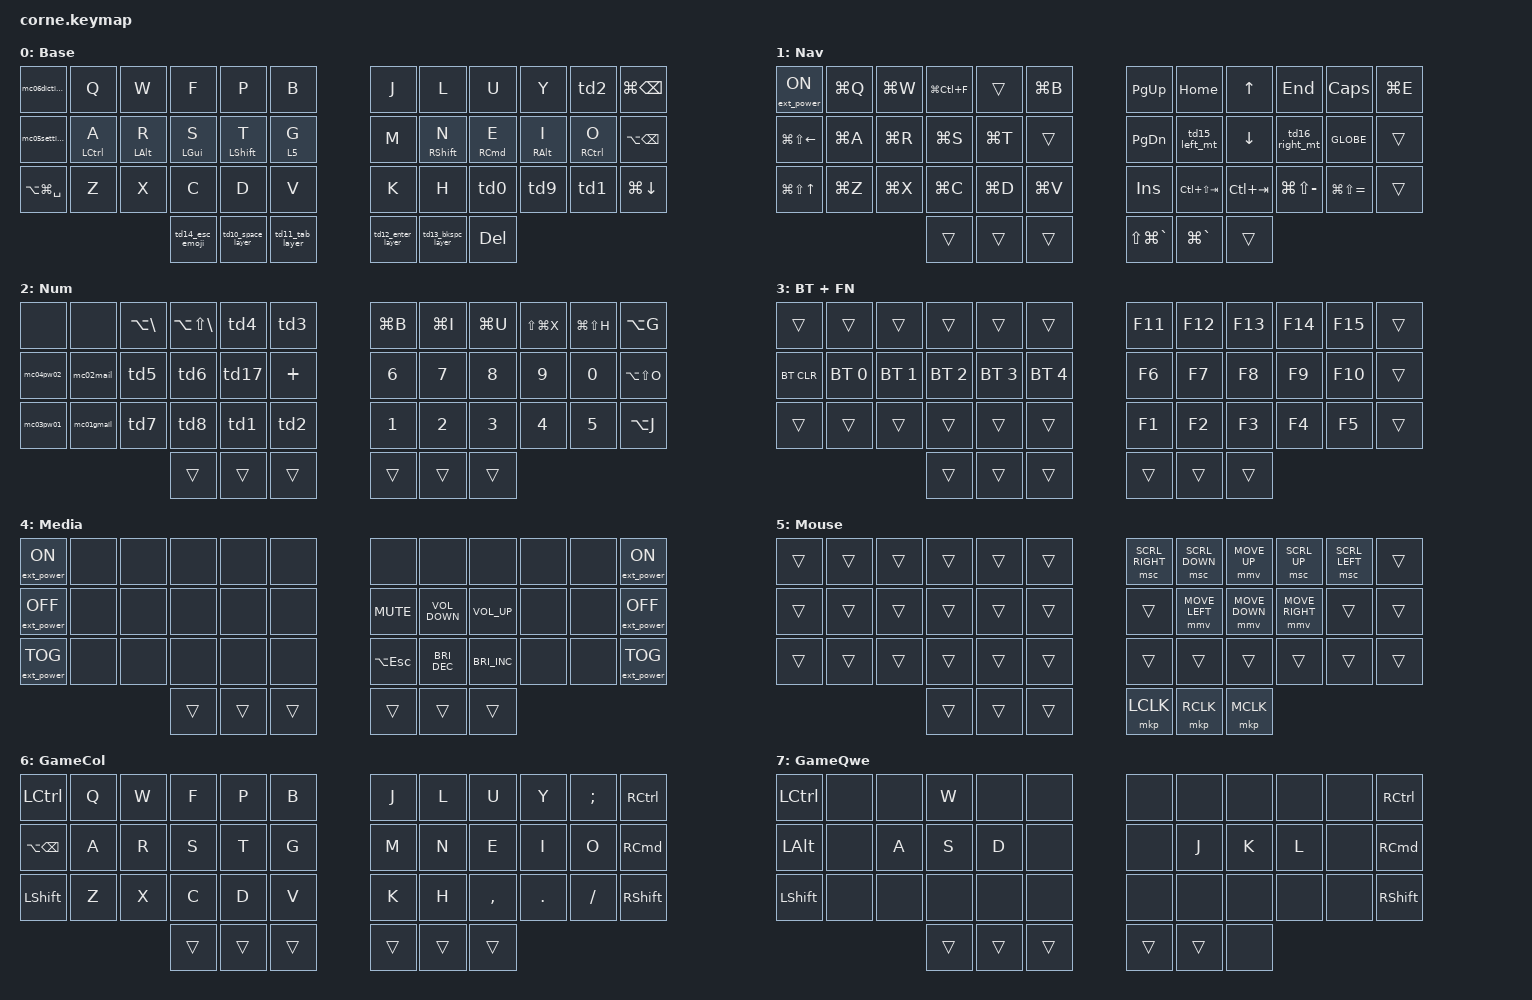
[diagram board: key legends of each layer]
/*
 * Copyright (c) 2020 The ZMK Contributors
 *
 * SPDX-License-Identifier: MIT
 */

#include <behaviors.dtsi>
#include <dt-bindings/zmk/bt.h>
#include <dt-bindings/zmk/ext_power.h>
#include <dt-bindings/zmk/keys.h>
#include <dt-bindings/zmk/pointing.h>

/ {
    combos {
        compatible = "zmk,combos";

        escape {
            bindings = <&kp ESC>;
            key-positions = <27 26>;
        };

        exclamation_mark {
            bindings = <&kp EXCLAMATION>;
            key-positions = <19 34>;
        };

        semicolon {
            bindings = <&kp SEMICOLON>;
            key-positions = <32 33>;
        };

        colon {
            bindings = <&kp COLON>;
            key-positions = <31 32>;
        };

        double_quote {
            bindings = <&kp DQT>;
            key-positions = <31 33>;
        };

        At {
            bindings = <&kp AT>;
            key-positions = <34 33>;
        };

        caret {
            bindings = <&kp CARET>;
            key-positions = <31 32 33>;
        };

        ampersand {
            bindings = <&kp LS(AMPERSAND)>;
            key-positions = <10 19>;
        };

        percent {
            bindings = <&kp PERCENT>;
            key-positions = <10 4>;
        };

        dollar {
            bindings = <&kp DOLLAR>;
            key-positions = <10 28>;
        };

        underscore {
            bindings = <&kp UNDERSCORE>;
            key-positions = <31 32 33 34>;
        };

        plusminus {
            bindings = <&kp LS(LA(EQUAL))>;
            key-positions = <17 16>;
            layers = <2>;
        };

        pipe {
            bindings = <&kp PIPE>;
            key-positions = <10 7>;
        };

        screenshot_select {
            bindings = <&kp LS(LG(N4))>;
            key-positions = <25 24>;
        };

        tog_navlayer {
            bindings = <&tog 1>;
            key-positions = <35 34>;
        };

        tog_numlayer {
            bindings = <&tog 2>;
            key-positions = <23 22>;
        };

        tog_mouselayer {
            bindings = <&tog 5>;
            key-positions = <11 10>;
        };

        screenshot {
            bindings = <&kp LS(LG(N3))>;
            key-positions = <13 12>;
        };

        GameCol {
            bindings = <&tog 6>;
            key-positions = <41 40>;
        };

        GameQwe {
            bindings = <&tog 7>;
            key-positions = <37 36>;
        };

        sleep {
            bindings = <&kp K_SLEEP>;
            key-positions = <36 37 38 39 40 41>;
        };
    };

    behaviors {
        hmr: hmr {
            compatible = "zmk,behavior-hold-tap";
            label = "HMR";
            bindings = <&kp>, <&kp>;

            #binding-cells = <2>;
            tapping-term-ms = <200>;
            quick-tap-ms = <100>;
            flavor = "tap-preferred";
            hold-trigger-key-positions = <13 14 15 16 0 1 2 4 5 12 13 14 15 16 17 24 25 26 27 28 29 36 37 38 39 40 41 3>;
            hold-trigger-on-release;
        };

        hml: hml {
            compatible = "zmk,behavior-hold-tap";
            label = "HML";
            bindings = <&kp>, <&kp>;

            #binding-cells = <2>;
            tapping-term-ms = <200>;
            quick-tap-ms = <100>;
            flavor = "tap-preferred";
            hold-trigger-key-positions = <36 37 38 39 40 41 6 7 8 9 10 11 18 19 20 21 22 23 30 31 32 33 34 35 39 40 41>;
            hold-trigger-on-release;
        };

        td0: td0 {
            compatible = "zmk,behavior-tap-dance";
            label = "TD0";
            #binding-cells = <0>;
            bindings = <&kp COMMA>, <&kp SQT>;
        };

        td1: td1 {
            compatible = "zmk,behavior-tap-dance";
            label = "TD1";
            #binding-cells = <0>;
            bindings = <&kp SLASH>, <&kp BACKSLASH>;
        };

        td2: td2 {
            compatible = "zmk,behavior-tap-dance";
            label = "TD2";
            #binding-cells = <0>;
            bindings = <&kp ASTERISK>, <&kp HASH>;
        };

        td3: td3 {
            compatible = "zmk,behavior-tap-dance";
            label = "TD3";
            #binding-cells = <0>;
            bindings = <&kp EQUAL>, <&kp LA(EQUAL)>;
        };

        td4: td4 {
            compatible = "zmk,behavior-tap-dance";
            label = "TD4";
            #binding-cells = <0>;
            bindings = <&kp LA(X)>, <&kp TILDE>;
        };

        td5: td5 {
            compatible = "zmk,behavior-tap-dance";
            label = "TD5";
            #binding-cells = <0>;
            bindings = <&kp LEFT_PARENTHESIS>, <&kp LESS_THAN>;
        };

        td6: td6 {
            compatible = "zmk,behavior-tap-dance";
            label = "TD6";
            #binding-cells = <0>;
            bindings = <&kp RIGHT_PARENTHESIS>, <&kp GREATER_THAN>;
        };

        td7: td7 {
            compatible = "zmk,behavior-tap-dance";
            label = "TD7";
            #binding-cells = <0>;
            bindings = <&kp LEFT_BRACKET>, <&kp LEFT_BRACE>;
        };

        td8: td8 {
            compatible = "zmk,behavior-tap-dance";
            label = "TD8";
            #binding-cells = <0>;
            bindings = <&kp RIGHT_BRACKET>, <&kp RIGHT_BRACE>;
        };

        td9: td9 {
            compatible = "zmk,behavior-tap-dance";
            label = "TD9";
            #binding-cells = <0>;
            bindings = <&kp DOT>, <&kp LA(N8)>, <&kp LA(SEMICOLON)>;
        };

        td10_space_layer: td10_space_layer {
            compatible = "zmk,behavior-tap-dance";
            label = "TD10_SPACE_LAYER";
            #binding-cells = <0>;
            bindings = <&lt 1 SPACE>, <&key_repeat>;
        };

        td11_tab_layer: td11_tab_layer {
            compatible = "zmk,behavior-tap-dance";
            label = "TD11_TAB_LAYER";
            #binding-cells = <0>;
            bindings = <&lt 2 TAB>, <&key_repeat>;
        };

        td12_enter_layer: td12_enter_layer {
            compatible = "zmk,behavior-tap-dance";
            label = "TD12_ENTER_LAYER";
            #binding-cells = <0>;
            bindings = <&lt 3 ENTER>, <&key_repeat>;
        };

        td13_bkspc_layer: td13_bkspc_layer {
            compatible = "zmk,behavior-tap-dance";
            label = "TD13_BKSPC_LAYER";
            #binding-cells = <0>;
            bindings = <&lt 4 BACKSPACE>, <&key_repeat>;
        };

        td14_esc_emoji: td14_esc_emoji {
            compatible = "zmk,behavior-tap-dance";
            label = "TD14_ESC_EMOJI";
            #binding-cells = <0>;
            bindings = <&mt LC(LG(SPACE)) ESC>, <&key_repeat>;
        };

        td15_left_mt: td15_left_mt {
            compatible = "zmk,behavior-tap-dance";
            label = "TD15_LEFT_MT";
            #binding-cells = <0>;
            bindings = <&mt LG(LA(LEFT)) LEFT>, <&key_repeat>;
        };

        td16_right_mt: td16_right_mt {
            compatible = "zmk,behavior-tap-dance";
            label = "TD16_RIGHT_MT";
            #binding-cells = <0>;
            bindings = <&mt LG(LA(RIGHT)) RIGHT>, <&key_repeat>;
        };

        td17: td17 {
            compatible = "zmk,behavior-tap-dance";
            label = "TD17";
            #binding-cells = <0>;
            bindings = <&kp MINUS>, <&kp LA(LS(MINUS))>;
        };
    };

    macros {
        mc01gmail: gmail1 {
            compatible = "zmk,behavior-macro";
            #binding-cells = <0>;
            bindings = <&kp L &kp O &kp W &kp H &kp A &kp N &kp Y &kp E &kp W &kp AT &kp G &kp M &kp A &kp I &kp L &kp DOT &kp C &kp O &kp M>;
            label = "GMAIL1";
        };

        mc02mail: moemail {
            compatible = "zmk,behavior-macro";
            #binding-cells = <0>;
            bindings = <&kp L &kp O &kp W &kp UNDER &kp H &kp A &kp N &kp UNDER &kp Y &kp E &kp W &kp AT &kp S &kp C &kp H &kp O &kp O &kp L &kp S &kp DOT &kp G &kp O &kp V &kp DOT &kp S &kp G>;
            label = "MOEMAIL";
        };

        mc03pw01: mc03pw01 {
            compatible = "zmk,behavior-macro";
            #binding-cells = <0>;
            bindings = <&none &kp N6 &kp N2 &kp L &kp O &kp W &kp H &kp A &kp N &kp Y &kp E &kp W &kp N0 &kp N6 &kp N0 &kp N7 &kp N8 &kp N6 &kp ENTER>;
            label = "MC03PW01";
        };

        mc04pw02: mc04pw02 {
            compatible = "zmk,behavior-macro";
            #binding-cells = <0>;
            bindings = <&kp LS(U) &kp P &kp P &kp E &kp R &kp N6 &kp LS(R) &kp O &kp O &kp M &kp N7 &none>;
            label = "MC04PW02";
        };

        mc05settings: mc04settings {
            compatible = "zmk,behavior-macro";
            #binding-cells = <0>;
            bindings = <&kp LG(SPACE) &kp S &kp Y &kp S &kp ENTER>;
            label = "MC04SETTINGS";
        };

        mc06dictionary: mc07dict {
            compatible = "zmk,behavior-macro";
            #binding-cells = <0>;
            bindings = <&kp LG(SPACE) &kp D &kp I &kp C &kp ENTER>;
            label = "MC07DICT";
        };
    };

    keymap {
        compatible = "zmk,keymap";

        default_layer {
            // -----------------------------------------------------------------------------------------
            // |  TAB |  Q  |  W  |  F  |  P  |  B  |   |  J  |  L   |  U  |  Y  |  '  | BKSP |
            // | BKSP |  A  |  R  |  D  |  F  |  G  |   |  M  |  N   |  E  |  I  |  O  |  ;   |
            // | SHFT |  Z  |  X  |  C  |  D  |  V  |   |  K  |  H   |  ,  |  .  |  /  | ESC  |
            //                    | ESC | LWR | SPC |   | ENT | RSE  | DEL |

            display-name = "Base";
            bindings = <
&mc06dictionary    &kp Q                &kp W            &kp F            &kp P              &kp B              &kp J              &kp L              &kp U                 &kp Y             &td2                  &kp LG(BACKSPACE)
&mc05settings      &hml LEFT_CONTROL A  &hml LEFT_ALT R  &hml LEFT_GUI S  &hml LEFT_SHIFT T  &lt 5 G            &kp M              &hmr RSHIFT N      &hmr RIGHT_COMMAND E  &hmr RIGHT_ALT I  &hmr RIGHT_CONTROL O  &kp LA(BACKSPACE)
&kp LA(LG(SPACE))  &kp Z                &kp X            &kp C            &kp D              &kp V              &kp K              &kp H              &td0                  &td9              &td1                  &kp LG(DOWN)
                                                         &td14_esc_emoji  &td10_space_layer  &td11_tab_layer    &td12_enter_layer  &td13_bkspc_layer  &kp DEL
            >;
        };

        nav_layer {
            // -----------------------------------------------------------------------------------------
            // |  TAB |  1  |  2  |  3  |  4  |  5  |   |  6  |  7  |  8  |  9  |  0  | BKSP |
            // | BTCLR| BT1 | BT2 | BT3 | BT4 | BT5 |   | LFT | DWN |  UP | RGT |     |      |
            // | SHFT |     |     |     |     |     |   |     |     |     |     |     |      |
            //                    | GUI |     | SPC |   | ENT |     | ALT |

            display-name = "Nav";
            bindings = <
&ext_power EP_ON  &kp LG(Q)  &kp LG(W)  &kp LG(LC(F))  &trans     &kp LG(B)    &kp PG_UP          &kp HOME         &kp UP       &kp END            &kp CAPS           &kp LG(E)
&kp LG(LS(LEFT))  &kp LG(A)  &kp LG(R)  &kp LG(S)      &kp LG(T)  &trans       &kp PG_DN          &td15_left_mt    &kp DOWN     &td16_right_mt     &kp GLOBE          &trans
&kp LG(LS(UP))    &kp LG(Z)  &kp LG(X)  &kp LG(C)      &kp LG(D)  &kp LG(V)    &kp INSERT         &kp LC(LS(TAB))  &kp LC(TAB)  &kp LG(LS(MINUS))  &kp LG(LS(EQUAL))  &trans
                                        &trans         &trans     &trans       &kp LS(LG(GRAVE))  &kp LG(GRAVE)    &trans
            >;
        };

        num_layer {
            // -----------------------------------------------------------------------------------------
            // |  TAB |  !  |  @  |  #  |  $  |  %  |   |  ^  |  &  |  *  |  (  |  )  | BKSP |
            // | CTRL |     |     |     |     |     |   |  -  |  =  |  [  |  ]  |  \  |  `   |
            // | SHFT |     |     |     |     |     |   |  _  |  +  |  {  |  }  | "|" |  ~   |
            //                    | GUI |     | SPC |   | ENT |     | ALT |

            display-name = "Num";
            bindings = <
&none      &none       &kp LA(BACKSLASH)  &kp LA(LS(BACKSLASH))  &td4    &td3        &kp LG(B)  &kp LG(I)  &kp LG(U)  &kp LS(LG(X))  &kp LG(LS(H))  &kp LA(G)
&mc04pw02  &mc02mail   &td5               &td6                   &td17   &kp PLUS    &kp N6     &kp N7     &kp N8     &kp N9         &kp N0         &kp LA(LS(O))
&mc03pw01  &mc01gmail  &td7               &td8                   &td1    &td2        &kp N1     &kp N2     &kp N3     &kp N4         &kp N5         &kp LA(J)
                                          &trans                 &trans  &trans      &trans     &trans     &trans
            >;
        };

        bt+fn_layer {
            bindings = <
&trans      &trans        &trans        &trans        &trans        &trans          &kp F11  &kp F12  &kp F13  &kp F14  &kp F15  &trans
&bt BT_CLR  &bt BT_SEL 0  &bt BT_SEL 1  &bt BT_SEL 2  &bt BT_SEL 3  &bt BT_SEL 4    &kp F6   &kp F7   &kp F8   &kp F9   &kp F10  &trans
&trans      &trans        &trans        &trans        &trans        &trans          &kp F1   &kp F2   &kp F3   &kp F4   &kp F5   &trans
                                        &trans        &trans        &trans          &trans   &trans   &trans
            >;

            label = "BT + FN";
        };

        media_layer {
            bindings = <
&ext_power EP_ON   &none  &none  &none   &none   &none     &none        &none                 &none                 &none  &none  &ext_power EP_ON
&ext_power EP_OFF  &none  &none  &none   &none   &none     &kp K_MUTE   &kp C_VOLUME_DOWN     &kp C_VOLUME_UP       &none  &none  &ext_power EP_OFF
&ext_power EP_TOG  &none  &none  &none   &none   &none     &kp LA(ESC)  &kp C_BRIGHTNESS_DEC  &kp C_BRIGHTNESS_INC  &none  &none  &ext_power EP_TOG
                                 &trans  &trans  &trans    &trans       &trans                &trans
            >;

            label = "Media";
        };

        mouse_layer {
            bindings = <
&trans  &trans  &trans  &trans  &trans  &trans    &msc SCRL_RIGHT  &msc SCRL_DOWN  &mmv MOVE_UP    &msc SCRL_UP     &msc SCRL_LEFT  &trans
&trans  &trans  &trans  &trans  &trans  &trans    &trans           &mmv MOVE_LEFT  &mmv MOVE_DOWN  &mmv MOVE_RIGHT  &trans          &trans
&trans  &trans  &trans  &trans  &trans  &trans    &trans           &trans          &trans          &trans           &trans          &trans
                        &trans  &trans  &trans    &mkp LCLK        &mkp RCLK       &mkp MCLK
            >;

            label = "Mouse";
        };

        gamecol_layer {
            bindings = <
&kp LEFT_CONTROL   &kp Q  &kp W  &kp F   &kp P   &kp B     &kp J   &kp L   &kp U      &kp Y       &kp SEMICOLON  &kp RIGHT_CONTROL
&kp LA(BACKSPACE)  &kp A  &kp R  &kp S   &kp T   &kp G     &kp M   &kp N   &kp E      &kp I       &kp O          &kp RIGHT_COMMAND
&kp LEFT_SHIFT     &kp Z  &kp X  &kp C   &kp D   &kp V     &kp K   &kp H   &kp COMMA  &kp PERIOD  &kp SLASH      &kp RIGHT_SHIFT
                                 &trans  &trans  &trans    &trans  &trans  &trans
            >;

            label = "GameCol";
        };

        gameqwe_layer {
            bindings = <
&kp LEFT_CONTROL  &none  &none  &kp W   &none   &none     &none   &none   &none  &none  &none  &kp RIGHT_CONTROL
&kp LEFT_ALT      &none  &kp A  &kp S   &kp D   &none     &none   &kp J   &kp K  &kp L  &none  &kp RIGHT_COMMAND
&kp LEFT_SHIFT    &none  &none  &none   &none   &none     &none   &none   &none  &none  &none  &kp RIGHT_SHIFT
                                &trans  &trans  &trans    &trans  &trans  &none
            >;

            label = "GameQwe";
        };
    };
};
